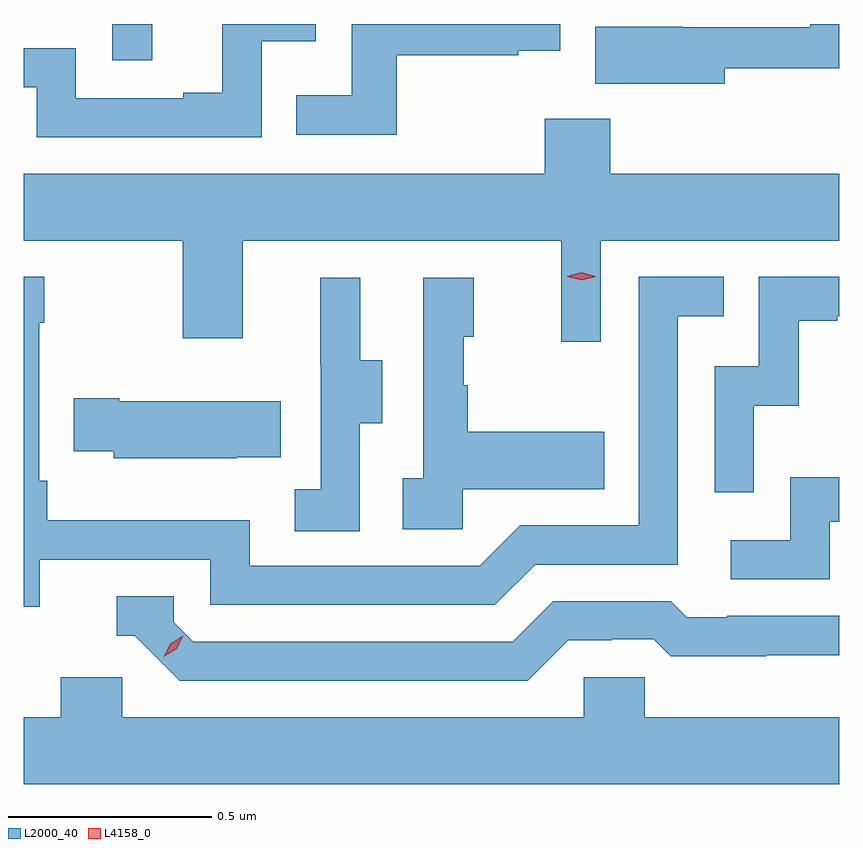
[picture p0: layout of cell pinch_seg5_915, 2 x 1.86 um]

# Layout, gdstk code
import gdstk
lib = gdstk.Library(unit=1e-6, precision=1e-09)
def R(c, l, rs):  # rectangles x0, y0, x1, y1
    for r in rs: c.add(gdstk.rectangle(r[:2], r[2:], *l))
def P(c, l, *ps):  # polygons
    for p in ps: c.add(gdstk.Polygon(p, *l))
L2000_40 = (2000, 40)
L4158_0 = (4158, 0)

pinch_seg5_915 = lib.new_cell('pinch_seg5_915')
R(pinch_seg5_915, L2000_40, [(869.394,886.506,869.491,886.595)])
P(pinch_seg5_915, L2000_40, [(870.895,886.486),(871.176,886.486),(871.176,886.595),(871.104,886.595),(871.104,886.587),(870.791,886.587),(870.791,886.588),(870.577,886.588),(870.577,886.448),(870.895,886.448)],
  [(870.091,886.518),(870.389,886.518),(870.389,886.529),(870.492,886.529),(870.492,886.595),(869.98,886.595),(869.98,886.42),(869.845,886.42),(869.845,886.323),(870.091,886.323)],
  [(869.76,886.553),(869.892,886.553),(869.892,886.595),(869.663,886.595),(869.663,886.426),(869.567,886.426),(869.567,886.413),(869.304,886.413),(869.304,886.536),(869.176,886.536),(869.176,886.44),(869.208,886.44),(869.208,886.317),(869.76,886.317)],
  [(870.591,886.064),(871.176,886.064),(871.176,886.228),(870.614,886.228),(870.614,886.363),(870.454,886.363),(870.454,886.228),(869.176,886.228),(869.176,886.064),(869.566,886.064),(869.566,885.825),(869.713,885.825),(869.713,886.064),(870.494,886.064),(870.494,885.816),(870.591,885.816)],
  [(869.216,885.282),(869.634,885.282),(869.634,885.171),(870.331,885.171),(870.43,885.27),(870.78,885.27),(870.78,885.879),(870.893,885.879),(870.893,885.975),(870.684,885.975),(870.684,885.366),(870.393,885.366),(870.294,885.267),(869.73,885.267),(869.73,885.379),(869.234,885.379),(869.234,885.475),(869.214,885.475),(869.214,885.863),(869.227,885.863),(869.227,885.976),(869.176,885.976),(869.176,885.166),(869.216,885.166)],
  [(870.966,885.659),(871.076,885.659),(871.076,885.867),(871.171,885.867),(871.171,885.879),(871.176,885.879),(871.176,885.975),(870.978,885.975),(870.978,885.756),(870.87,885.756),(870.87,885.447),(870.966,885.447)],
  [(870,885.616),(870.055,885.616),(870.055,885.771),(870.001,885.771),(870.001,885.973),(869.903,885.973),(869.903,885.759),(869.904,885.759),(869.904,885.455),(869.841,885.455),(869.841,885.352),(870,885.352)],
  [(870.252,885.455),(870.599,885.455),(870.599,885.595),(870.265,885.595),(870.265,885.71),(870.255,885.71),(870.255,885.828),(870.28,885.828),(870.28,885.973),(870.156,885.973),(870.156,885.482),(870.105,885.482),(870.105,885.357),(870.252,885.357)],
  [(869.699,885.533),(869.807,885.533),(869.807,885.67),(869.41,885.67),(869.41,885.678),(869.299,885.678),(869.299,885.548),(869.397,885.548),(869.397,885.53),(869.699,885.53)],
  [(871.152,885.375),(871.176,885.375),(871.176,885.484),(871.056,885.484),(871.056,885.33),(870.909,885.33),(870.909,885.234),(871.152,885.234)],
  [(870.511,885.084),(870.618,885.084),(870.618,885.087),(870.721,885.087),(870.763,885.045),(870.996,885.045),(870.996,885.047),(871.176,885.047),(871.176,885.144),(870.901,885.144),(870.901,885.141),(870.802,885.141),(870.763,885.18),(870.474,885.18),(870.375,885.081),(869.592,885.081),(869.544,885.129),(869.544,885.192),(869.405,885.192),(869.405,885.096),(869.448,885.096),(869.559,884.985),(870.412,884.985)],
  [(871.176,884.896),(870.699,884.896),(870.699,884.994),(870.549,884.994),(870.549,884.896),(869.418,884.896),(869.418,884.994),(869.267,884.994),(869.267,884.896),(869.176,884.896),(869.176,884.732),(871.176,884.732)])
P(pinch_seg5_915, L4158_0, [(869.52,885.044),(869.52,885.044),(869.536,885.076),(869.567,885.095),(869.567,885.095),(869.567,885.095),(869.551,885.063),(869.52,885.044)],
  [(870.544,885.967),(870.509,885.976),(870.509,885.977),(870.509,885.977),(870.544,885.987),(870.579,885.977),(870.579,885.977),(870.579,885.976)])

lib.write_gds('pinch_seg5_915.gds')
